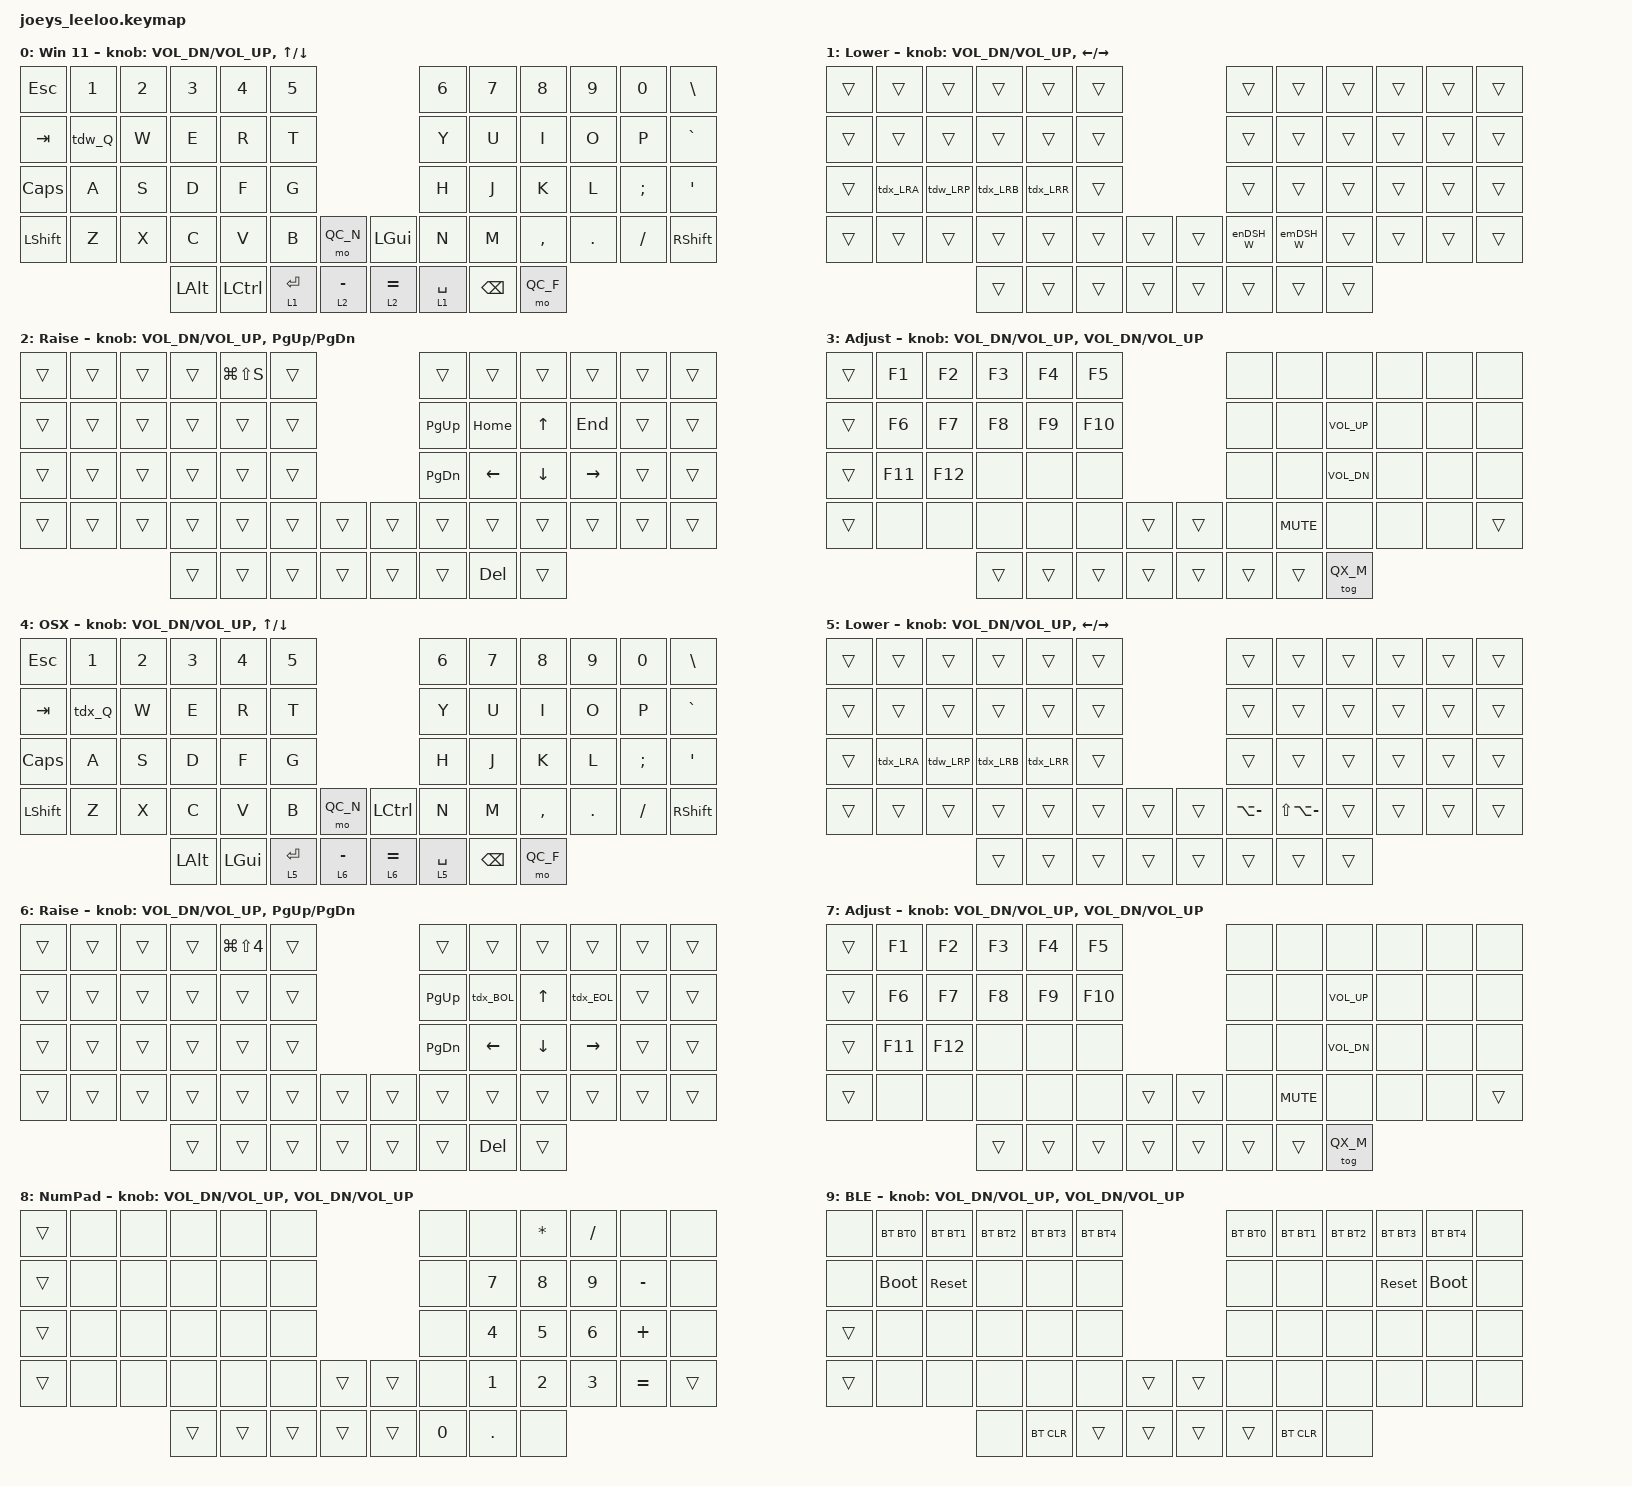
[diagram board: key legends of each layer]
/*
 * Copyright (c) 2023 The ZMK Contributors
 *
 * SPDX-License-Identifier: MIT
 */
#include <behaviors.dtsi>
#include <dt-bindings/zmk/outputs.h>
#include <dt-bindings/zmk/keys.h>
#include <dt-bindings/zmk/bt.h>

// Layers
#define QW_M    0       // Main
#define QW_L    1       // Lower
#define QW_R    2       // Raise
#define QW_A    3       // Adjust

#define QX_M    4       // Main
#define QX_L    5       // Lower
#define QX_R    6       // Raise
#define QX_A    7       // Adjust

#define QC_N    8       // Number Pad
#define QC_F    9       // Firmware


// Short versions
#define WIN_SC  LG(LS(S))
#define OSX_SC  LG(LS(N4))
#define OSX_BOL LG(LEFT)
#define OSX_EOL LG(RIGHT)

#define enDSH_X LA(MINUS)
#define emDSH_X LS(LA(MINUS))

#define BT0     BT_SEL 0
#define BT1     BT_SEL 1
#define BT2     BT_SEL 2
#define BT3     BT_SEL 3
#define BT4     BT_SEL 4

#define BOOTLDR     &bootloader

#define VOLUP   C_VOL_UP
#define VOLDN   C_VOL_DN
#define VOLMT   C_MUTE

#define RGBON   &rgb_ug RGB_ON
#define RGBOFF  &rgb_ug RGB_OFF
#define RGBTOG  &rgb_ug RGB_TOG
#define RGBHUI  &rgb_ug RGB_HUI
#define RGBHUD  &rgb_ug RGB_HUD
#define RGBSAI  &rgb_ug RGB_SAI
#define RGBSAD  &rgb_ug RGB_SAD
#define RGBBRI  &rgb_ug RGB_BRI
#define RGBBRD  &rgb_ug RGB_BRD
#define RGBEFF  &rgb_ug RGB_EFF


/*
 * Assign the cs-gpios pin to 4.
 * Uncomment these next few lines if implementing nice!view Displays
 */
// nice_view_spi: &spi0 {
//     cs-gpios = <&pro_micro 4 GPIO_ACTIVE_HIGH>;
// };


/ {
    conditional_layers {
        compatible = "zmk,conditional-layers";
        adjust_win_layer {
            if-layers = <1 2>;
            then-layer = <3>;
        };
        
        adjust_osx_layer {
            if-layers = <5 6>;
            then-layer = <7>;
        };
    };


    combos {
        compatible = "zmk,combos";

        combo_quit_app_win {
            timeout-ms = <50>;
            key-positions = <13 14>;
            layers = <QW_M>;
            bindings = <&kp LA(F4)>;
        };
    };

    macros {
        enDSH_W: en_Dash {
            compatible = "zmk,behavior-macro";
            #binding-cells = <0>;
            wait-ms = <20>;
            tap-ms = <20>;
            bindings
                = <&macro_press   &kp LALT>
                , <&macro_tap     &kp KP_N0 &kp KP_N1 &kp KP_N5 &kp KP_N0>
                , <&macro_release &kp LALT>
                ;
        };

        emDSH_W: em_Dash {
            compatible = "zmk,behavior-macro";
            #binding-cells = <0>;
            wait-ms = <20>;
            tap-ms = <20>;
            bindings
                = <&macro_press   &kp LALT>
                , <&macro_tap     &kp KP_N0 &kp KP_N1 &kp KP_N5 &kp KP_N1>
                , <&macro_release &kp LALT>
                ;
        };
    };

    behaviors {
        tdw_Q: tap_dance_0 {
            compatible = "zmk,behavior-tap-dance";
            #binding-cells = <0>;
            tapping-term-ms = <200>;
            bindings = <&kp Q>, <&kp LA(F4)>;
        };

        tdx_Q: tap_dance_1 {
            compatible = "zmk,behavior-tap-dance";
            #binding-cells = <0>;
            tapping-term-ms = <200>;
            bindings = <&kp Q>, <&kp LG(Q)>;
        };

        tdw_LRP: tap_dance_2 {
            compatible = "zmk,behavior-tap-dance";
            #binding-cells = <0>;
            tapping-term-ms = <200>;
            bindings = <&kp LPAR>, <&kp RPAR>;
        };

        tdx_LRB: tap_dance_3 {
            compatible = "zmk,behavior-tap-dance";
            #binding-cells = <0>;
            tapping-term-ms = <200>;
            bindings = <&kp LBKT>, <&kp RBKT>;
        };

        tdx_LRR: tap_dance_4 {
            compatible = "zmk,behavior-tap-dance";
            #binding-cells = <0>;
            tapping-term-ms = <200>;
            bindings = <&kp LBRC>, <&kp RBRC>;
        };

        tdx_LRA: tap_dance_5 {
            compatible = "zmk,behavior-tap-dance";
            #binding-cells = <0>;
            tapping-term-ms = <200>;
            bindings = <&kp LT>, <&kp GT>;
        };

        tdx_BOL: tap_dance_6 {
            compatible = "zmk,behavior-tap-dance";
            #binding-cells = <0>;
            tapping-term-ms = <200>;
            bindings = <&kp LG(LEFT)>, <&kp HOME>;
        };

        tdx_EOL: tap_dance_7 {
            compatible = "zmk,behavior-tap-dance";
            #binding-cells = <0>;
            tapping-term-ms = <200>;
            bindings = <&kp LG(RIGHT)>, <&kp END>;
        };
    };

    keymap {
        compatible = "zmk,keymap";

        default_win_layer {
            display-name = " Win 11";
            bindings = <
&kp ESC    &kp N1     &kp N2     &kp N3     &kp N4     &kp N5                           &kp N6     &kp N7     &kp N8     &kp N9     &kp N0     &kp BSLH
&kp TAB    &tdw_Q     &kp W      &kp E      &kp R      &kp T                            &kp Y      &kp U      &kp I      &kp O      &kp P      &kp GRAV
&kp CAPS   &kp A      &kp S      &kp D      &kp F      &kp G                            &kp H      &kp J      &kp K      &kp L      &kp SEMI   &kp SQT
&kp LSHFT  &kp Z      &kp X      &kp C      &kp V      &kp B    &mo QC_N    &kp LGUI    &kp N      &kp M      &kp COMMA  &kp DOT    &kp FSLH   &kp RSHFT
                              &kp LALT &kp LCTRL  &lt 1 RET  &lt 2 MINUS    &lt 2 EQUAL &lt 1 SPACE  &kp BSPC &mo QC_F
            >;

            sensor-bindings = <&inc_dec_kp C_VOL_DN C_VOL_UP &inc_dec_kp UP DOWN>;
        };

        lower_win_layer {
            display-name = " Lower";
            bindings = <
&trans     &trans     &trans     &trans     &trans     &trans                           &trans     &trans     &trans     &trans     &trans     &trans
&trans     &trans     &trans     &trans     &trans     &trans                           &trans     &trans     &trans     &trans     &trans     &trans
&trans     &tdx_LRA   &tdw_LRP   &tdx_LRB   &tdx_LRR   &trans                           &trans     &trans     &trans     &trans     &trans     &trans
&trans     &trans     &trans     &trans     &trans     &trans     &trans      &trans    &enDSH_W   &emDSH_W   &trans     &trans     &trans     &trans
                                 &trans     &trans     &trans     &trans      &trans    &trans     &trans     &trans
            >;

            sensor-bindings = <&inc_dec_kp C_VOL_DN C_VOL_UP &inc_dec_kp LEFT RIGHT>;
        };

        raise_win_layer {
            display-name = " Raise";
            bindings = <
&trans     &trans     &trans     &trans     &kp WIN_SC &trans                           &trans     &trans     &trans     &trans     &trans     &trans
&trans     &trans     &trans     &trans     &trans     &trans                           &kp PG_UP  &kp HOME   &kp UP     &kp END    &trans     &trans
&trans     &trans     &trans     &trans     &trans     &trans                           &kp PG_DN  &kp LEFT   &kp DOWN   &kp RIGHT  &trans     &trans
&trans     &trans     &trans     &trans     &trans     &trans     &trans      &trans    &trans     &trans     &trans     &trans     &trans     &trans
                                 &trans     &trans     &trans     &trans      &trans    &trans     &kp DEL    &trans
            >;

            sensor-bindings = <&inc_dec_kp C_VOL_DN C_VOL_UP &inc_dec_kp PG_UP PG_DN>;
        };

        adjust_win_layer {
            display-name = " Adjust";
            bindings = <
&trans     &kp F1     &kp F2     &kp F3     &kp F4     &kp F5                           &none      &none      &none      &none      &none      &none
&trans     &kp F6     &kp F7     &kp F8     &kp F9     &kp F10                          &none      &none      &kp VOLUP  &none      &none      &none
&trans     &kp F11    &kp F12    &none      &none      &none                            &none      &none      &kp VOLDN  &none      &none      &none 
&trans     &none      &none      &none      &none      &none      &trans      &trans    &none      &kp VOLMT  &none      &none      &none      &trans
                                 &trans     &trans     &trans     &trans      &trans    &trans     &trans     &tog QX_M
            >;

            sensor-bindings = <&inc_dec_kp C_VOL_DN C_VOL_UP &inc_dec_kp C_VOL_DN C_VOL_UP>;
        };

        default_osx_layer {
            display-name = " OSX";
            bindings = <
&kp ESC    &kp N1     &kp N2     &kp N3     &kp N4     &kp N5                           &kp N6     &kp N7     &kp N8     &kp N9     &kp N0     &kp BSLH
&kp TAB    &tdx_Q     &kp W      &kp E      &kp R      &kp T                            &kp Y      &kp U      &kp I      &kp O      &kp P      &kp GRAV
&kp CAPS   &kp A      &kp S      &kp D      &kp F      &kp G                            &kp H      &kp J      &kp K      &kp L      &kp SEMI   &kp SQT
&kp LSHFT  &kp Z      &kp X      &kp C      &kp V      &kp B    &mo QC_N    &kp LCTRL   &kp N      &kp M      &kp COMMA  &kp DOT    &kp FSLH   &kp RSHFT
                            &kp LALT   &kp LGUI   &lt 5 RET  &lt 6 MINUS    &lt 6 EQUAL &lt 5 SPACE  &kp BSPC   &mo QC_F
            >;

            sensor-bindings = <&inc_dec_kp C_VOL_DN C_VOL_UP &inc_dec_kp UP DOWN>;
        };

        lower_osx_layer {
            display-name = " Lower";
            bindings = <
&trans     &trans     &trans     &trans     &trans     &trans                           &trans      &trans      &trans     &trans     &trans     &trans
&trans     &trans     &trans     &trans     &trans     &trans                           &trans      &trans      &trans     &trans     &trans     &trans
&trans     &tdx_LRA   &tdw_LRP   &tdx_LRB   &tdx_LRR   &trans                           &trans      &trans      &trans     &trans     &trans     &trans
&trans     &trans     &trans     &trans     &trans     &trans     &trans      &trans    &kp enDSH_X &kp emDSH_X &trans     &trans     &trans     &trans
                                 &trans     &trans     &trans     &trans      &trans    &trans      &trans     &trans
            >;

            sensor-bindings = <&inc_dec_kp C_VOL_DN C_VOL_UP &inc_dec_kp LEFT RIGHT>;
        };

        raise_osx_layer {
            display-name = " Raise";
            bindings = <
&trans     &trans     &trans     &trans     &kp OSX_SC &trans                           &trans     &trans     &trans     &trans     &trans     &trans
&trans     &trans     &trans     &trans     &trans     &trans                           &kp PG_UP  &tdx_BOL   &kp UP     &tdx_EOL   &trans     &trans
&trans     &trans     &trans     &trans     &trans     &trans                           &kp PG_DN  &kp LEFT   &kp DOWN   &kp RIGHT  &trans     &trans
&trans     &trans     &trans     &trans     &trans     &trans     &trans      &trans    &trans     &trans     &trans     &trans     &trans     &trans
                                 &trans     &trans     &trans     &trans      &trans    &trans     &kp DEL    &trans
            >;

            sensor-bindings = <&inc_dec_kp C_VOL_DN C_VOL_UP &inc_dec_kp PG_UP PG_DN>;
        };

        adjust_osx_layer {
            display-name = " Adjust";
            bindings = <
&trans     &kp F1     &kp F2     &kp F3     &kp F4     &kp F5                           &none      &none      &none      &none      &none      &none
&trans     &kp F6     &kp F7     &kp F8     &kp F9     &kp F10                          &none      &none      &kp VOLUP  &none      &none      &none
&trans     &kp F11    &kp F12    &none      &none      &none                            &none      &none      &kp VOLDN  &none      &none      &none 
&trans     &none      &none      &none      &none      &none      &trans      &trans    &none      &kp VOLMT  &none      &none      &none      &trans
                                 &trans     &trans     &trans     &trans      &trans    &trans     &trans     &tog QX_M
            >;

            sensor-bindings = <&inc_dec_kp C_VOL_DN C_VOL_UP &inc_dec_kp C_VOL_DN C_VOL_UP>;
        };

        numpad_layer {
            display-name = "NumPad";
            bindings = <
&trans      &none     &none      &none      &none      &none                            &none      &none      &kp ASTRK  &kp SLASH  &none      &none 
&trans      &none     &none      &none      &none      &none                            &none      &kp N7     &kp N8     &kp N9     &kp MINUS  &none 
&trans      &none     &none      &none      &none      &none                            &none      &kp N4     &kp N5     &kp N6     &kp PLUS   &none 
&trans      &none     &none      &none      &none      &none      &trans      &trans    &none      &kp N1     &kp N2     &kp N3     &kp EQUAL  &trans
                                 &trans     &trans     &trans     &trans      &trans    &kp N0     &kp DOT    &none 
            >;

            sensor-bindings = <&inc_dec_kp C_VOL_DN C_VOL_UP &inc_dec_kp C_VOL_DN C_VOL_UP>;
        };

        firmware_layer {
            display-name = " BLE";
            bindings = <
&none       &bt BT0   &bt BT1    &bt BT2    &bt BT3    &bt BT4                          &bt BT0    &bt BT1    &bt BT2    &bt BT3    &bt BT4    &none 
&none       BOOTLDR   &sys_reset &none      &none      &none                            &none      &none      &none      &sys_reset BOOTLDR    &none
&trans      &none     &none      &none      &none      &none                            &none      &none      &none      &none      &none      &none
&trans      &none     &none      &none      &none      &none      &trans      &trans    &none      &none      &none      &none      &none      &none
                                 &none      &bt BT_CLR &trans     &trans      &trans    &trans     &bt BT_CLR &none 
            >;

            sensor-bindings = <&inc_dec_kp C_VOL_DN C_VOL_UP &inc_dec_kp C_VOL_DN C_VOL_UP>;
        };
    };
};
